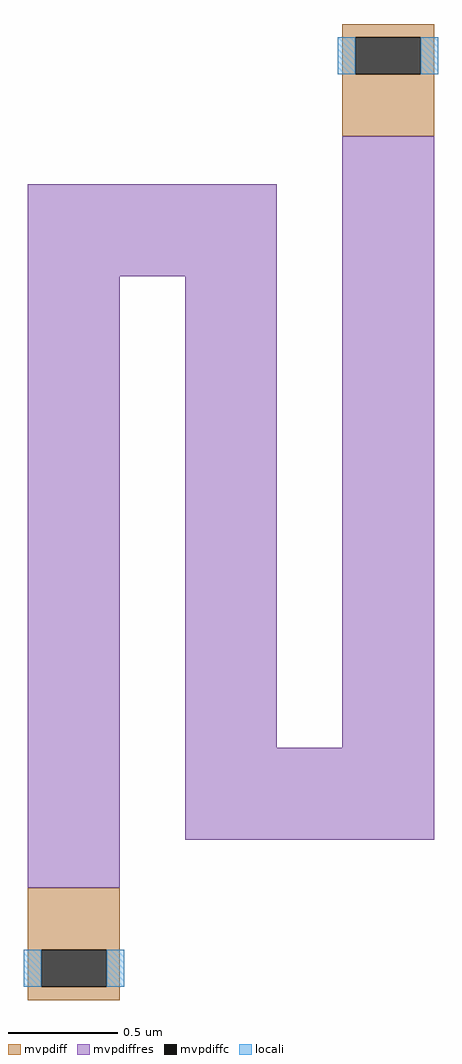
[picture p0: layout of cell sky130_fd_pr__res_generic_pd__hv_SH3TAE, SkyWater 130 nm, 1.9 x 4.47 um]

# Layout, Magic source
magic
tech sky130A
magscale 1 2
<< mvpdiff >>
rect 102 435 186 447
rect 102 401 114 435
rect 174 401 186 435
rect 102 344 186 401
rect -186 -401 -102 -344
rect -186 -435 -174 -401
rect -114 -435 -102 -401
rect -186 -447 -102 -435
<< mvpdiffc >>
rect 114 401 174 435
rect -174 -435 -114 -401
<< mvpdiffres >>
rect -186 216 42 300
rect -186 -344 -102 216
rect -42 -216 42 216
rect 102 -216 186 344
rect -42 -300 186 -216
<< locali >>
rect 98 401 114 435
rect 174 401 190 435
rect -190 -435 -174 -401
rect -114 -435 -98 -401
<< properties >>
string gencell sky130_fd_pr__res_generic_pd__hv
string library sky130
string parameters w 0.42 l 3 m 1 nx 3 wmin 0.42 lmin 2.10 rho 197 val 5.417k dummy 0 dw 0.02 term 0.0 sterm 0.0 caplen 0.60 snake 1 guard 0 glc 1 grc 1 gtc 1 gbc 1 roverlap 0 endcov 100 full_metal 1 vias 1 viagb 0 viagt 0 viagl 0 viagr 0
<< end >>
